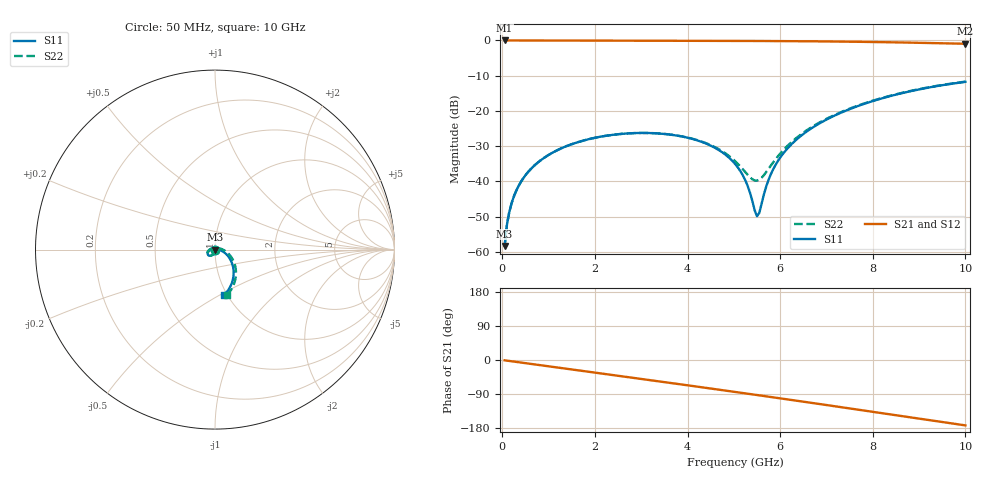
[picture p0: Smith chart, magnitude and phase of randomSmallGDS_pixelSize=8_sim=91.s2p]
! freq	dB(S11)	phase(S11)	dB(S12)	phase(S12)
!  dB(S21)	phase(S21)	dB(S22)	phase(S22)
!S-par simulation data
#  GHz  S  DB  R 50
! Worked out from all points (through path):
!   200 points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, 50 MHz to 10 GHz, reference 50 ohm
!   highest |S21| = 0.00 dB at 50 MHz (marker M1); lowest = -0.9 dB at 10 GHz (marker M2)
!   group delay of S21, straight-line fit = 47.9 ps
!   lowest |S11| = -58.3 dB at 50 MHz (marker M3), VSWR 1.00, Z = 50 - j0.121 ohm
!   |S11| at or under -10 dB: start of sweep to end of sweep
!   |S22| runs from -58.4 to -11.7 dB; largest |S21 - S12| = 0
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0.05  -58.31 -90.0  -0.00 -0.8  -0.00 -0.8  -58.36 -90.2
0.1  -52.27 -91.6  -0.00 -1.7  -0.00 -1.7  -52.31 -91.9
0.2  -46.21 -93.9  -0.00 -3.4  -0.00 -3.4  -46.22 -94.2
0.35  -41.33 -96.6  -0.00 -5.9  -0.00 -5.9  -41.32 -96.9
0.5  -38.25 -99.1  -0.01 -8.4  -0.01 -8.4  -38.24 -99.5
1  -32.48 -107.6  -0.02 -16.7  -0.02 -16.7  -32.47 -108.2
1.75  -28.40 -120.3  -0.04 -29.1  -0.04 -29.1  -28.40 -121.5
2.55  -26.54 -133.9  -0.06 -42.4  -0.06 -42.4  -26.53 -135.8
3.4  -26.41 -148.4  -0.07 -56.6  -0.07 -56.6  -26.40 -151.8
4.4  -29.26 -166.9  -0.10 -73.5  -0.10 -73.5  -29.14 -174.6
4.75  -31.74 -174.5  -0.11 -79.5  -0.11 -79.5  -31.44 173.7
5.05  -35.41 176.7  -0.12 -84.6  -0.12 -84.6  -34.54 157.8
5.3  -41.33 161.9  -0.14 -89.0  -0.14 -89.0  -38.13 130.8
5.5  -49.86 94.9  -0.15 -92.4  -0.15 -92.4  -39.77 89.1
5.55  -48.90 61.7  -0.15 -93.3  -0.15 -93.3  -39.50 77.3
5.75  -39.51 11.7  -0.16 -96.8  -0.16 -96.8  -36.40 40.8
5.95  -34.23 0.4  -0.18 -100.3  -0.18 -100.3  -32.88 21.5
6.25  -29.37 -8.7  -0.20 -105.5  -0.20 -105.5  -28.77 5.6
6.7  -24.71 -18.7  -0.24 -113.5  -0.24 -113.5  -24.42 -8.9
7.4  -20.01 -32.3  -0.33 -125.9  -0.33 -125.9  -19.86 -25.4
8.35  -15.88 -49.7  -0.51 -143.0  -0.51 -143.0  -15.78 -44.4
10  -11.75 -79.0  -0.94 -172.5  -0.94 -172.5  -11.68 -74.5
